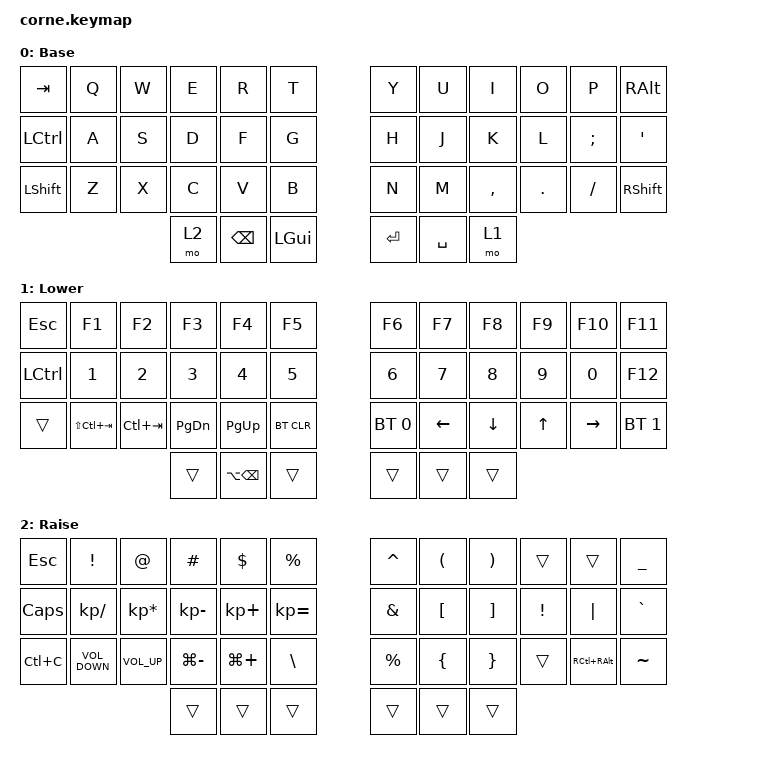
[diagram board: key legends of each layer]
/*
 * Copyright (c) 2020 The ZMK Contributors
 *
 * SPDX-License-Identifier: MIT
 */

#include <behaviors.dtsi>
#include <dt-bindings/zmk/bt.h>
#include <dt-bindings/zmk/keys.h>

/ {
    keymap {
        compatible = "zmk,keymap";

        default_layer {
            // -----------------------------------------------------------------------------------------
            // |  TAB |  Q  |  W  |  E  |  R  |  T  |   |  Y  |  U   |  I  |  O  |  P  | BKSP |
            // | CTRL |  A  |  S  |  D  |  F  |  G  |   |  H  |  J   |  K  |  L  |  ;  |  '   |
            // | SHFT |  Z  |  X  |  C  |  V  |  B  |   |  N  |  M   |  ,  |  .  |  /  | ESC  |
            //                    | GUI | LWR | SPC |   | ENT | RSE  | ALT |

            label = "Base";
            bindings = <
&kp TAB    &kp Q  &kp W  &kp E  &kp R          &kp T       &kp Y    &kp U      &kp I      &kp O    &kp P     &kp RIGHT_ALT
&kp LCTRL  &kp A  &kp S  &kp D  &kp F          &kp G       &kp H    &kp J      &kp K      &kp L    &kp SEMI  &kp SQT
&kp LSHFT  &kp Z  &kp X  &kp C  &kp V          &kp B       &kp N    &kp M      &kp COMMA  &kp DOT  &kp FSLH  &kp RIGHT_SHIFT
                         &mo 2  &kp BACKSPACE  &kp LGUI    &kp RET  &kp SPACE  &mo 1
            >;
        };

        lower_layer {
            // -----------------------------------------------------------------------------------------
            // |  TAB |  1  |  2  |  3  |  4  |  5  |   |  6  |  7  |  8  |  9  |  0  | BKSP |
            // | BTCLR| BT1 | BT2 | BT3 | BT4 | BT5 |   | LFT | DWN |  UP | RGT |     |      |
            // | SHFT |     |     |     |     |     |   |     |     |     |     |     |      |
            //                    | GUI |     | SPC |   | ENT |     | ALT |

            label = "Lower";
            bindings = <
&kp ESCAPE        &kp F1           &kp F2       &kp F3         &kp F4             &kp F5        &kp F6        &kp F7    &kp F8          &kp F9        &kp F10          &kp F11
&kp LEFT_CONTROL  &kp N1           &kp N2       &kp N3         &kp N4             &kp N5        &kp N6        &kp N7    &kp N8          &kp N9        &kp N0           &kp F12
&trans            &kp LS(LC(TAB))  &kp LC(TAB)  &kp PAGE_DOWN  &kp PAGE_UP        &bt BT_CLR    &bt BT_SEL 0  &kp LEFT  &kp DOWN_ARROW  &kp UP_ARROW  &kp RIGHT_ARROW  &bt BT_SEL 1
                                                &trans         &kp LA(BACKSPACE)  &trans        &trans        &trans    &trans
            >;
        };

        raise_layer {
            // -----------------------------------------------------------------------------------------
            // |  TAB |  !  |  @  |  #  |  $  |  %  |   |  ^  |  &  |  *  |  (  |  )  | BKSP |
            // | CTRL |     |     |     |     |     |   |  -  |  =  |  [  |  ]  |  \  |  `   |
            // | SHFT |     |     |     |     |     |   |  _  |  +  |  {  |  }  | "|" |  ~   |
            //                    | GUI |     | SPC |   | ENT |     | ALT |

            label = "Raise";
            bindings = <
&kp ESCAPE  &kp EXCL           &kp AT           &kp HASH         &kp DLLR      &kp PRCNT        &kp CARET      &kp LEFT_PARENTHESIS  &kp RIGHT_PARENTHESIS  &trans    &trans             &kp UNDER
&kp CAPS    &kp KP_DIVIDE      &kp KP_MULTIPLY  &kp KP_SUBTRACT  &kp KP_PLUS   &kp KP_EQUAL     &kp AMPERSAND  &kp LEFT_BRACKET      &kp RIGHT_BRACKET      &kp EXCL  &kp PIPE           &kp GRAVE
&kp LC(C)   &kp C_VOLUME_DOWN  &kp C_VOLUME_UP  &kp LG(MINUS)    &kp LG(PLUS)  &kp BACKSLASH    &kp PERCENT    &kp LEFT_BRACE        &kp RIGHT_BRACE        &trans    &kp RC(RIGHT_ALT)  &kp TILDE
                                                &trans           &trans        &trans           &trans         &trans                &trans
            >;
        };
    };
};
